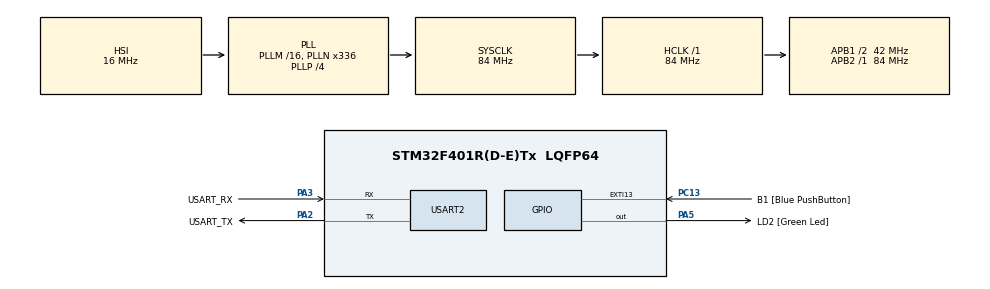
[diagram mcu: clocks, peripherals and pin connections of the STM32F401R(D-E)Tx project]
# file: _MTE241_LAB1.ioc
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Mcu.Family=STM32F4
Mcu.Name=STM32F401R(D-E)Tx
Mcu.Package=LQFP64
NVIC.PriorityGroup=NVIC_PRIORITYGROUP_0
PA13.GPIO_Label=TMS
PA13.Mode=Serial_Wire
PA13.Signal=SYS_JTMS-SWDIO
PA14.GPIO_Label=TCK
PA14.Mode=Serial_Wire
PA14.Signal=SYS_JTCK-SWCLK
PA2.GPIO_Label=USART_TX
PA2.GPIO_Mode=GPIO_MODE_AF_PP
PA2.GPIO_PuPd=GPIO_NOPULL
PA2.GPIO_Speed=GPIO_SPEED_FREQ_LOW
PA2.Mode=Asynchronous
PA2.Signal=USART2_TX
PA3.GPIO_Label=USART_RX
PA3.GPIO_Mode=GPIO_MODE_AF_PP
PA3.GPIO_PuPd=GPIO_NOPULL
PA3.GPIO_Speed=GPIO_SPEED_FREQ_LOW
PA3.Mode=Asynchronous
PA3.Signal=USART2_RX
PA5.GPIO_Label=LD2 [Green Led]
PA5.GPIO_Mode=GPIO_MODE_OUTPUT_PP
PA5.GPIO_PuPd=GPIO_NOPULL
PA5.GPIO_Speed=GPIO_SPEED_FREQ_LOW
PA5.Signal=GPIO_Output
PB3.GPIO_Label=SWO
PB3.Signal=SYS_JTDO-SWO
PC13-ANTI_TAMP.GPIO_Label=B1 [Blue PushButton]
PC13-ANTI_TAMP.GPIO_ModeDefaultEXTI=GPIO_MODE_IT_FALLING
PC13-ANTI_TAMP.GPIO_PuPd=GPIO_NOPULL
PC13-ANTI_TAMP.Signal=GPXTI13
PC14-OSC32_IN.Mode=LSE-External-Oscillator
PC14-OSC32_IN.Signal=RCC_OSC32_IN
PC15-OSC32_OUT.Mode=LSE-External-Oscillator
PC15-OSC32_OUT.Signal=RCC_OSC32_OUT
PH0\ -\ OSC_IN.Mode=HSE-External-Clock-Source
PH0\ -\ OSC_IN.Signal=RCC_OSC_IN
PH1\ -\ OSC_OUT.Mode=HSE-External-Clock-Source
PH1\ -\ OSC_OUT.Signal=RCC_OSC_OUT
ProjectManager.HeapSize=0x200
ProjectManager.StackSize=0x400
ProjectManager.TargetToolchain=STM32CubeIDE
RCC.48MHZClocksFreq_Value=48000000
RCC.AHBFreq_Value=84000000
RCC.APB1CLKDivider=RCC_HCLK_DIV2
RCC.APB1Freq_Value=42000000
RCC.APB1TimFreq_Value=84000000
RCC.APB2Freq_Value=84000000
RCC.APB2TimFreq_Value=84000000
RCC.CortexFreq_Value=84000000
RCC.HCLKFreq_Value=84000000
RCC.HSE_VALUE=8000000
RCC.HSI_VALUE=16000000
RCC.PLLN=336
RCC.PLLP=RCC_PLLP_DIV4
RCC.PLLQ=7
RCC.SYSCLKFreq_VALUE=84000000
RCC.SYSCLKSource=RCC_SYSCLKSOURCE_PLLCLK
RCC.VCOOutputFreq_Value=336000000
USART2.VirtualMode=VM_ASYNC
board=NUCLEO-F401RE

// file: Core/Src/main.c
/* USER CODE BEGIN Header */
/**
  ******************************************************************************
  * @file           : main.c
  * @brief          : Main program body
  ******************************************************************************
  * @attention
  *
  * Copyright (c) 2024 STMicroelectronics.
  * All rights reserved.
  *
  * This software is licensed under terms that can be found in the LICENSE file
  * in the root directory of this software component.
  * If no LICENSE file comes with this software, it is provided AS-IS.
  *
  ******************************************************************************
  */
/* USER CODE END Header */
#include "main.h"

/* USER CODE BEGIN Includes */
#include "kernel.h"
/* USER CODE END Includes */

UART_HandleTypeDef huart2;

void SystemClock_Config(void);
static void MX_GPIO_Init(void);
static void MX_USART2_UART_Init(void);
/* USER CODE BEGIN PFP */
int __io_putchar(int ch)
{
	HAL_UART_Transmit(&huart2,(uint8_t*)&ch,1,HAL_MAX_DELAY);
	return ch;
}

uint32_t value = 0;
bool changed = false;
typedef struct operators_t {
	uint8_t adder;
	uint8_t multiplier;
} operators;

void first_function(void* args) {
	while (1) {
		if (changed == false) {
			operators input = *(operators*) args;
			value += input.adder;
			value *= input.multiplier;
			changed = true;
		}
	}

}

void second_function(void* args) {
	while (1) {
		printf("%d \r\n", value);
		changed = false;
		osYield();
	}
}

//void print_first(void* args) {
//	while (1) {
//		printf("First Thread \r\n");
//	}
//}

//void print_second(void* args) {
//	while (1) {
//		printf("Second Thread \r\n");
//	}
//}

/* USER CODE END PFP */

int main(void)
{

  /* MCU Configuration--------------------------------------------------------*/

  /* Reset of all peripherals, Initializes the Flash interface and the Systick. */
  HAL_Init();

  /* Configure the system clock */
  SystemClock_Config();

  /* Initialize all configured peripherals */
  MX_GPIO_Init();
  MX_USART2_UART_Init();
  /* USER CODE BEGIN 2 */
  operators struct_arg = {
  		.adder = 1,
  		.multiplier = 2
  };

  osKernelInitialize();
  osCreateThread(second_function, 0);
  osCreateThreadWithDeadline(first_function, &struct_arg, 200);
  osKernelStart();

  /* USER CODE END 2 */

  /* Infinite loop */
  while (1)
  {

  }
}

void SystemClock_Config(void)
{
  RCC_OscInitTypeDef RCC_OscInitStruct = {0};
  RCC_ClkInitTypeDef RCC_ClkInitStruct = {0};

  /** Configure the main internal regulator output voltage
  */
  __HAL_RCC_PWR_CLK_ENABLE();
  __HAL_PWR_VOLTAGESCALING_CONFIG(PWR_REGULATOR_VOLTAGE_SCALE2);

  /** Initializes the RCC Oscillators according to the specified parameters
  * in the RCC_OscInitTypeDef structure.
  */
  RCC_OscInitStruct.OscillatorType = RCC_OSCILLATORTYPE_HSI;
  RCC_OscInitStruct.HSIState = RCC_HSI_ON;
  RCC_OscInitStruct.HSICalibrationValue = RCC_HSICALIBRATION_DEFAULT;
  RCC_OscInitStruct.PLL.PLLState = RCC_PLL_ON;
  RCC_OscInitStruct.PLL.PLLSource = RCC_PLLSOURCE_HSI;
  RCC_OscInitStruct.PLL.PLLM = 16;
  RCC_OscInitStruct.PLL.PLLN = 336;
  RCC_OscInitStruct.PLL.PLLP = RCC_PLLP_DIV4;
  RCC_OscInitStruct.PLL.PLLQ = 7;
  if (HAL_RCC_OscConfig(&RCC_OscInitStruct) != HAL_OK)
  {
    Error_Handler();
  }

  /** Initializes the CPU, AHB and APB buses clocks
  */
  RCC_ClkInitStruct.ClockType = RCC_CLOCKTYPE_HCLK|RCC_CLOCKTYPE_SYSCLK
                              |RCC_CLOCKTYPE_PCLK1|RCC_CLOCKTYPE_PCLK2;
  RCC_ClkInitStruct.SYSCLKSource = RCC_SYSCLKSOURCE_PLLCLK;
  RCC_ClkInitStruct.AHBCLKDivider = RCC_SYSCLK_DIV1;
  RCC_ClkInitStruct.APB1CLKDivider = RCC_HCLK_DIV2;
  RCC_ClkInitStruct.APB2CLKDivider = RCC_HCLK_DIV1;

  if (HAL_RCC_ClockConfig(&RCC_ClkInitStruct, FLASH_LATENCY_2) != HAL_OK)
  {
    Error_Handler();
  }
}

static void MX_USART2_UART_Init(void)
{

  huart2.Instance = USART2;
  huart2.Init.BaudRate = 115200;
  huart2.Init.WordLength = UART_WORDLENGTH_8B;
  huart2.Init.StopBits = UART_STOPBITS_1;
  huart2.Init.Parity = UART_PARITY_NONE;
  huart2.Init.Mode = UART_MODE_TX_RX;
  huart2.Init.HwFlowCtl = UART_HWCONTROL_NONE;
  huart2.Init.OverSampling = UART_OVERSAMPLING_16;
  if (HAL_UART_Init(&huart2) != HAL_OK)
  {
    Error_Handler();
  }

}

static void MX_GPIO_Init(void)
{
  GPIO_InitTypeDef GPIO_InitStruct = {0};

  /* GPIO Ports Clock Enable */
  __HAL_RCC_GPIOC_CLK_ENABLE();
  __HAL_RCC_GPIOH_CLK_ENABLE();
  __HAL_RCC_GPIOA_CLK_ENABLE();
  __HAL_RCC_GPIOB_CLK_ENABLE();

  /*Configure GPIO pin Output Level */
  HAL_GPIO_WritePin(LD2_GPIO_Port, LD2_Pin, GPIO_PIN_RESET);

  /*Configure GPIO pin : B1_Pin */
  GPIO_InitStruct.Pin = B1_Pin;
  GPIO_InitStruct.Mode = GPIO_MODE_IT_FALLING;
  GPIO_InitStruct.Pull = GPIO_NOPULL;
  HAL_GPIO_Init(B1_GPIO_Port, &GPIO_InitStruct);

  /*Configure GPIO pin : LD2_Pin */
  GPIO_InitStruct.Pin = LD2_Pin;
  GPIO_InitStruct.Mode = GPIO_MODE_OUTPUT_PP;
  GPIO_InitStruct.Pull = GPIO_NOPULL;
  GPIO_InitStruct.Speed = GPIO_SPEED_FREQ_LOW;
  HAL_GPIO_Init(LD2_GPIO_Port, &GPIO_InitStruct);

}

void Error_Handler(void)
{
  __disable_irq();
  while (1)
  {
  }
}
